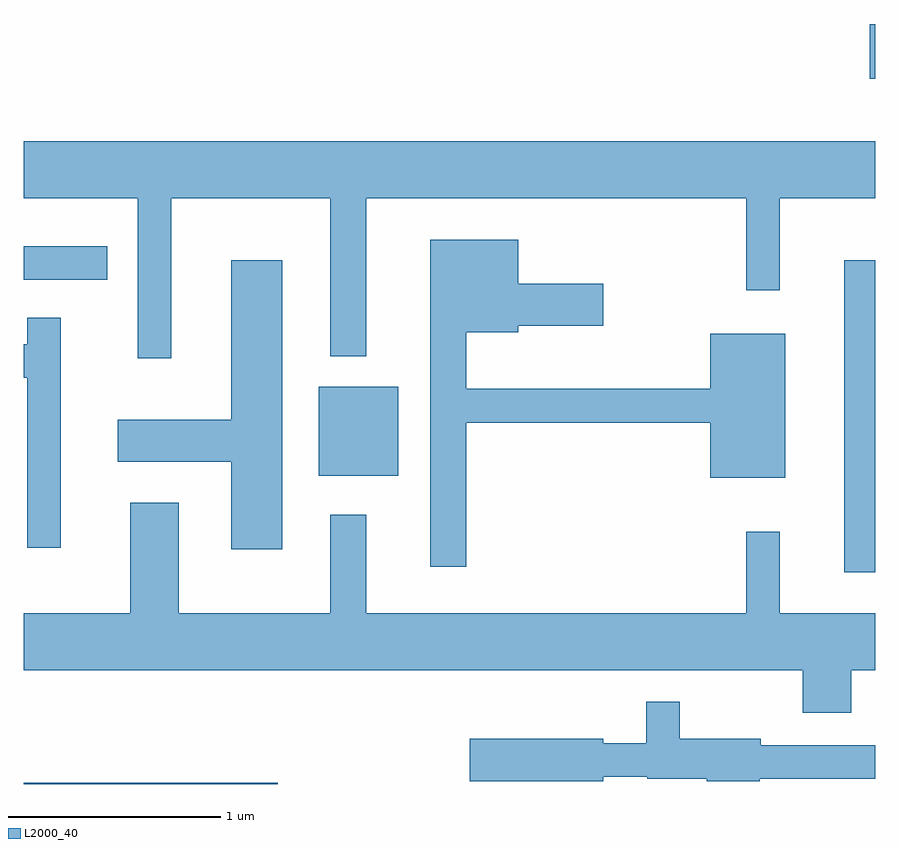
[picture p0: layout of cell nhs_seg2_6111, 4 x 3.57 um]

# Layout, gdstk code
import gdstk
lib = gdstk.Library(unit=1e-6, precision=1e-09)
def R(c, l, rs):  # rectangles x0, y0, x1, y1
    for r in rs: c.add(gdstk.rectangle(r[:2], r[2:], *l))
def P(c, l, *ps):  # polygons
    for p in ps: c.add(gdstk.Polygon(p, *l))
L2000_40 = (2000, 40)

nhs_seg2_6111 = lib.new_cell('nhs_seg2_6111')
R(nhs_seg2_6111, L2000_40, [(365.611,1027.802,366.804,1027.809), (369.466,1028.798,369.611,1030.264), (366.996,1029.251,367.369,1029.669), (365.611,1030.171,366.003,1030.329), (369.586,1031.116,369.611,1031.374)])
P(nhs_seg2_6111, L2000_40, [(366.304,1030.556),(367.051,1030.556),(367.051,1029.813),(367.219,1029.813),(367.219,1030.556),(369.006,1030.556),(369.006,1030.123),(369.164,1030.123),(369.164,1030.556),(369.611,1030.556),(369.611,1030.824),(365.611,1030.824),(365.611,1030.556),(366.146,1030.556),(366.146,1029.803),(366.304,1029.803)],
  [(367.689,1029.501),(368.836,1029.501),(368.836,1029.241),(369.189,1029.241),(369.189,1029.919),(368.836,1029.919),(368.836,1029.659),(367.689,1029.659),(367.689,1029.926),(367.934,1029.926),(367.934,1029.956),(368.334,1029.956),(368.334,1030.154),(367.934,1030.154),(367.934,1030.359),(367.521,1030.359),(367.521,1028.823),(367.689,1028.823)],
  [(366.824,1030.264),(366.586,1030.264),(366.586,1029.514),(366.051,1029.514),(366.051,1029.316),(366.586,1029.316),(366.586,1028.906),(366.824,1028.906)],
  [(365.784,1029.993),(365.626,1029.993),(365.626,1029.869),(365.611,1029.869),(365.611,1029.711),(365.626,1029.711),(365.626,1028.912),(365.784,1028.912)],
  [(369.499,1028.336),(369.611,1028.336),(369.611,1028.604),(369.164,1028.604),(369.164,1028.988),(369.006,1028.988),(369.006,1028.604),(367.219,1028.604),(367.219,1029.068),(367.051,1029.068),(367.051,1028.604),(366.339,1028.604),(366.339,1029.124),(366.111,1029.124),(366.111,1028.604),(365.611,1028.604),(365.611,1028.336),(369.271,1028.336),(369.271,1028.136),(369.499,1028.136)],
  [(368.334,1027.836),(368.54,1027.836),(368.54,1027.826),(368.82,1027.826),(368.82,1027.816),(369.07,1027.816),(369.07,1027.826),(369.611,1027.826),(369.611,1027.984),(369.074,1027.984),(369.074,1028.014),(368.694,1028.014),(368.694,1028.188),(368.536,1028.188),(368.536,1027.994),(368.334,1027.994),(368.334,1028.014),(367.706,1028.014),(367.706,1027.816),(368.334,1027.816)])

lib.write_gds('nhs_seg2_6111.gds')
